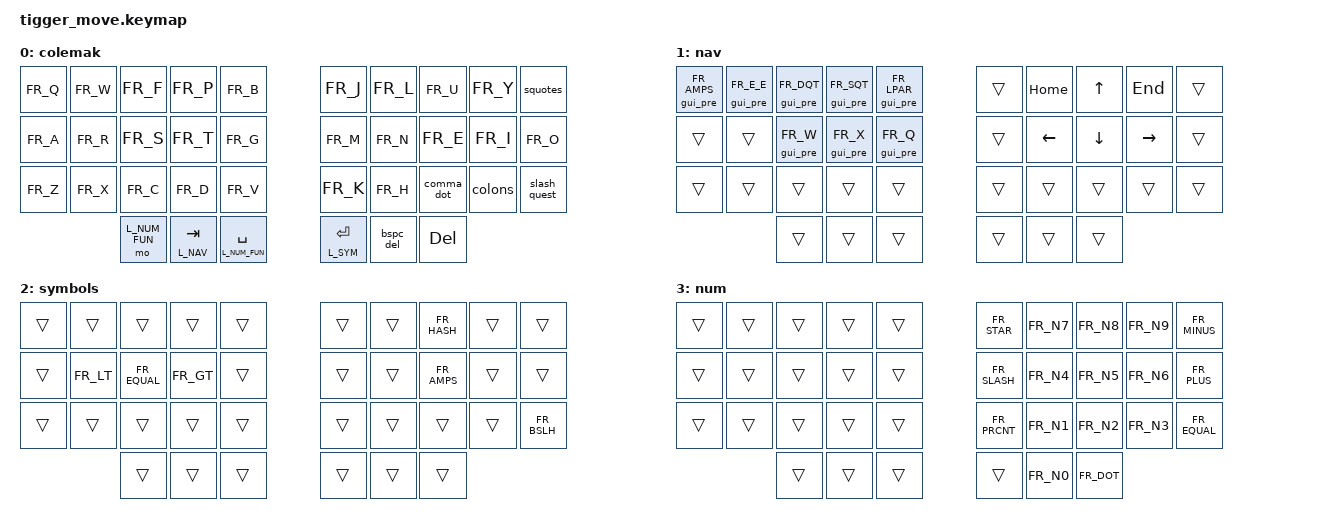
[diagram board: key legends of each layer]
#include <behaviors.dtsi>
#include <dt-bindings/zmk/keys.h>
#include <dt-bindings/zmk/bt.h>
#include <dt-bindings/zmk/outputs.h>
#include "layers.h"
#include "36.h"
#include "keys_fr.h"
#include "combos.h"
#include "macros.h"

&sk {
  release-after-ms = <10000>;
};

&lt {

};

&caps_word {
    continue-list = <FR_M UNDERSCORE FR_MINUS BACKSPACE DELETE LSHIFT>;
};

/ {
  behaviors {
    squotes: single_quotes {
      compatible = "zmk,behavior-mod-morph";
      #binding-cells = <0>;
      bindings = <&kp FR_SINGLE_QUOTE>, <&kp FR_SINGLE_QUOTE>;
      mods = <(MOD_LSFT|MOD_RSFT)>;
    };
    comma_dot: comma_dot {
      compatible = "zmk,behavior-mod-morph";
      #binding-cells = <0>;
      bindings = <&kp FR_COMMA>, <&kp FR_DOT>;
      mods = <(MOD_LSFT|MOD_RSFT)>;
    };
    colons: colon_semicolon {
      compatible = "zmk,behavior-mod-morph";
      #binding-cells = <0>;
      bindings = <&kp FR_COLON>, <&kp FR_SEMICOLON>;
      mods = <(MOD_LSFT|MOD_RSFT)>;
    };
    slash_quest: slash_quest {
      compatible = "zmk,behavior-mod-morph";
      #binding-cells = <0>;
      bindings = <&kp FR_SLASH>, <&kp FR_QUESTION>;
      mods = <(MOD_LSFT|MOD_RSFT)>;
    };
    bspc_del: backspace_delete {
      compatible = "zmk,behavior-mod-morph";
      #binding-cells = <0>;
      bindings = <&kp BACKSPACE>, <&kp DELETE>;
      mods = <(MOD_LSFT|MOD_RSFT)>;
      keep-mods = <(MOD_RSFT)>;
    };

    smart_mod: smart_mod {
      compatible = "zmk,behavior-hold-tap";
      #binding-cells = <2>;
      flavor = "tap-preferred";
      tapping-term-ms = <300>;
      quick-tap-ms = <0>;
      require-prior-idle-ms = <0>;
      bindings = <&kp>, <&sk>;
    };
  };

  keymap {
    compatible = "zmk,keymap";

    base_layer {
      display-name = "colemak";
      bindings = <
// ╭───────────────┬───────────────┬───────────────┬───────────────┬───────────────╮   ╭───────────────┬───────────────┬───────────────┬───────────────┬───────────────╮
       &kp FR_Q        &kp FR_W        &kp FR_F        &kp FR_P        &kp FR_B            &kp FR_J        &kp FR_L        &kp FR_U        &kp FR_Y        &squotes
// ├───────────────┼───────────────┼───────────────┼───────────────┼───────────────┤   ├───────────────┼───────────────┼───────────────┼───────────────┼───────────────┤
       &kp FR_A        &kp FR_R        &kp FR_S        &kp FR_T        &kp FR_G            &kp FR_M        &kp FR_N        &kp FR_E        &kp FR_I        &kp FR_O
// ├───────────────┼───────────────┼───────────────┼───────────────┼───────────────┤   ├───────────────┼───────────────┼───────────────┼───────────────┼───────────────┤
       &kp FR_Z        &kp FR_X        &kp FR_C        &kp FR_D        &kp FR_V            &kp FR_K        &kp FR_H       &comma_dot        &colons        &slash_quest
// ╰───────────────┴───────────────┼───────────────┼───────────────┼───────────────┤   ├───────────────┼───────────────┼───────────────┼───────────────┴───────────────╯
                                    &mo L_NUM_FUN    &lt L_NAV TAB &lt L_NUM_FUN SPACE   &lt L_SYM RET     &bspc_del       &kp DEL
//                                 ╰───────────────┴───────────────┴───────────────╯   ╰───────────────┴───────────────┴───────────────╯ 
      >;
    };

    nav_layer {
      display-name = "nav";
      bindings = <
// ╭───────────────┬───────────────┬───────────────┬───────────────┬───────────────╮   ╭───────────────┬───────────────┬───────────────┬───────────────┬───────────────╮
   &gui_pre FR_AMPS &gui_pre FR_E_E &gui_pre FR_DQT &gui_pre FR_SQT &gui_pre FR_LPAR        &trans          &kp HOME        &kp UP         &kp END          &trans
// ├───────────────┼───────────────┼───────────────┼───────────────┼───────────────┤   ├───────────────┼───────────────┼───────────────┼───────────────┼───────────────┤
         &trans         &trans       &gui_pre FR_W   &gui_pre FR_X   &gui_pre FR_Q          &trans          &kp LEFT        &kp DOWN       &kp RIGHT        &trans
// ├───────────────┼───────────────┼───────────────┼───────────────┼───────────────┤   ├───────────────┼───────────────┼───────────────┼───────────────┼───────────────┤
         &trans         &trans          &trans          &trans          &trans              &trans          &trans          &trans          &trans          &trans
// ╰───────────────┴───────────────┼───────────────┼───────────────┼───────────────┤   ├───────────────┼───────────────┼───────────────┼───────────────┴───────────────╯
                                        &trans          &trans          &trans              &trans          &trans          &trans
//                                 ╰───────────────┴───────────────┴───────────────╯   ╰───────────────┴───────────────┴───────────────╯
      >;
    };

    sym_layer {
      display-name = "symbols";
      bindings = <
// ╭───────────────┬───────────────┬───────────────┬───────────────┬───────────────╮   ╭───────────────┬───────────────┬───────────────┬───────────────┬───────────────╮
         &trans         &trans          &trans          &trans          &trans              &trans          &trans        &kp FR_HASH       &trans          &trans
// ├───────────────┼───────────────┼───────────────┼───────────────┼───────────────┤   ├───────────────┼───────────────┼───────────────┼───────────────┼───────────────┤
         &trans         &kp FR_LT    &kp FR_EQUAL      &kp FR_GT        &trans              &trans          &trans        &kp FR_AMPS       &trans          &trans
// ├───────────────┼───────────────┼───────────────┼───────────────┼───────────────┤   ├───────────────┼───────────────┼───────────────┼───────────────┼───────────────┤
         &trans         &trans          &trans          &trans          &trans              &trans          &trans          &trans          &trans        &kp FR_BSLH
// ╰───────────────┴───────────────┼───────────────┼───────────────┼───────────────┤   ├───────────────┼───────────────┼───────────────┼───────────────┴───────────────╯
                                        &trans          &trans          &trans              &trans          &trans          &trans
//                                 ╰───────────────┴───────────────┴───────────────╯   ╰───────────────┴───────────────┴───────────────╯
      >;
    };

    num_fun_layer {
      display-name = "num";
      bindings = <
// ╭───────────────┬───────────────┬───────────────┬───────────────┬───────────────╮   ╭───────────────┬───────────────┬───────────────┬───────────────┬───────────────╮
         &trans         &trans          &trans          &trans          &trans           &kp FR_STAR       &kp FR_N7       &kp FR_N8       &kp FR_N9      &kp FR_MINUS
// ├───────────────┼───────────────┼───────────────┼───────────────┼───────────────┤   ├───────────────┼───────────────┼───────────────┼───────────────┼───────────────┤
         &trans         &trans          &trans          &trans          &trans           &kp FR_SLASH      &kp FR_N4       &kp FR_N5       &kp FR_N6      &kp FR_PLUS
// ├───────────────┼───────────────┼───────────────┼───────────────┼───────────────┤   ├───────────────┼───────────────┼───────────────┼───────────────┼───────────────┤
         &trans         &trans          &trans          &trans          &trans           &kp FR_PRCNT      &kp FR_N1       &kp FR_N2       &kp FR_N3      &kp FR_EQUAL
// ╰───────────────┴───────────────┼───────────────┼───────────────┼───────────────┤   ├───────────────┼───────────────┼───────────────┼───────────────┴───────────────╯
                                        &trans          &trans          &trans              &trans         &kp FR_N0       &kp FR_DOT
//                                 ╰───────────────┴───────────────┴───────────────╯   ╰───────────────┴───────────────┴───────────────╯
      >;
    };
  };
};
